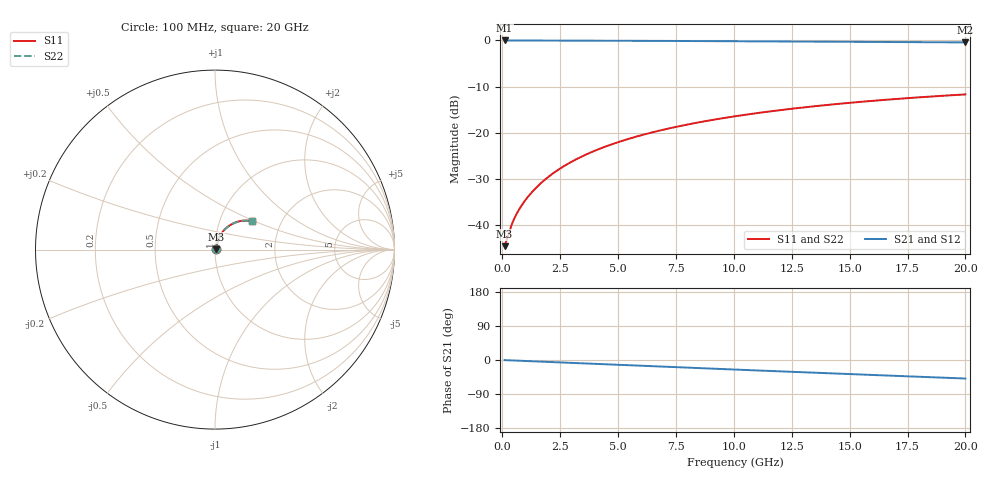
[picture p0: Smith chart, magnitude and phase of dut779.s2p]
! Touchstone file exported from HFSS 2026.1.0
!  File:  C:/ffzhzh/LocalFiles/Ansys_Project_Files/temp_train_TMRDL_779_1783155750_51560.aedt
!  Generated:  05:03:41 PM Jul  4, 2026
!  Design:  TMRDL
!  Project:  temp_train_TMRDL_779_1783155750_51560
! Variables:
!  h_bsmrdl = 2um
!  h_ox = 20um
!  h_rdl = 5um
!  h_sub = 80um
!  h_tmrdl = 2.59um
!  h_tsv = 80um
!  h_via = 3um
!  l_bsmrdl = 300um
!  l_sub = 1223.73um
!  l_tmrdl = 823.73um
!  m_sub = 200um
!  pitch = 30.94um
!  r_tsv = 6um
!  s_tmrdl = 10um
!  w_bsmrdl = 18um
!  w_sub = 500um
!  w_tmrdl = 21um
!  x_tsv_center1 = 834.23um
!  x_tsv_center2 = 1152.23um
!  x_tsv_center3 = 1996.96um
!  x_tsv_center4 = 2314.96um
!  x_tsv_center5 = 3159.69um
!  x_tsv_center6 = 3477.69um
# GHz S MA R 50.000000
! Terminal data exported
! Port[1] = TM_RDL1_1_T1
! Port[2] = TM_RDL1_1_T2
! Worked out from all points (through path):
!   200 points, 100 MHz to 20 GHz, reference 50 ohm
!   highest |S21| = -0.05 dB at 100 MHz (marker M1); lowest = -0.5 dB at 20 GHz (marker M2)
!   group delay of S21, straight-line fit = 6.78 ps
!   lowest |S11| = -44.5 dB at 100 MHz (marker M3), VSWR 1.01, Z = 50.6 + j0.21 ohm
!   |S11| at or under -10 dB: start of sweep to end of sweep
!   |S22| runs from -44.5 to -11.7 dB; largest |S21 - S12| = 3e-15
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0.1  0.005977 20.3  0.9944 -0.3  0.9944 -0.3  0.005977 20.3
! Gamma 0 0 0 0
! Port Impedance 50 0 50 0
0.3  0.008599 43.4  0.9938 -0.8  0.9938 -0.8  0.008599 43.4
0.4  0.01011 48.9  0.9935 -1.1  0.9935 -1.1  0.01012 48.9
0.5  0.01161 52.8  0.9932 -1.4  0.9932 -1.4  0.01161 52.8
0.6  0.01308 55.7  0.9929 -1.6  0.9929 -1.6  0.01308 55.7
0.7  0.01453 58.0  0.9926 -1.9  0.9926 -1.9  0.01453 58.0
0.9  0.01739 61.7  0.9923 -2.4  0.9923 -2.4  0.0174 61.6
1.2  0.02172 65.5  0.9919 -3.1  0.9919 -3.1  0.02173 65.4
1.7  0.02911 69.2  0.9914 -4.4  0.9914 -4.4  0.02912 69.1
2.2  0.03666 71.0  0.9909 -5.7  0.9909 -5.7  0.03667 71.0
2.8  0.04582 71.9  0.9903 -7.2  0.9903 -7.2  0.04583 71.8
3.5  0.05654 71.9  0.9894 -8.9  0.9894 -8.9  0.05655 71.8
4.2  0.06722 71.3  0.9884 -10.7  0.9884 -10.7  0.06723 71.3
5  0.07931 70.2  0.9871 -12.7  0.9871 -12.7  0.07933 70.1
5.9  0.09273 68.7  0.9854 -15.0  0.9854 -15.0  0.09275 68.6
6.8  0.1059 66.9  0.9835 -17.2  0.9835 -17.2  0.1059 66.8
8.3  0.1272 63.8  0.98 -21.0  0.98 -21.0  0.1273 63.7
10.1  0.1516 59.8  0.9754 -25.4  0.9754 -25.4  0.1517 59.6
11.7  0.1722 56.2  0.971 -29.3  0.971 -29.3  0.1722 56.0
13.4  0.1928 52.4  0.9661 -33.4  0.9661 -33.4  0.1929 52.1
16.7  0.229 44.9  0.9566 -41.2  0.9566 -41.2  0.2291 44.6
20  0.26 37.6  0.9475 -48.9  0.9475 -48.9  0.2602 37.2
